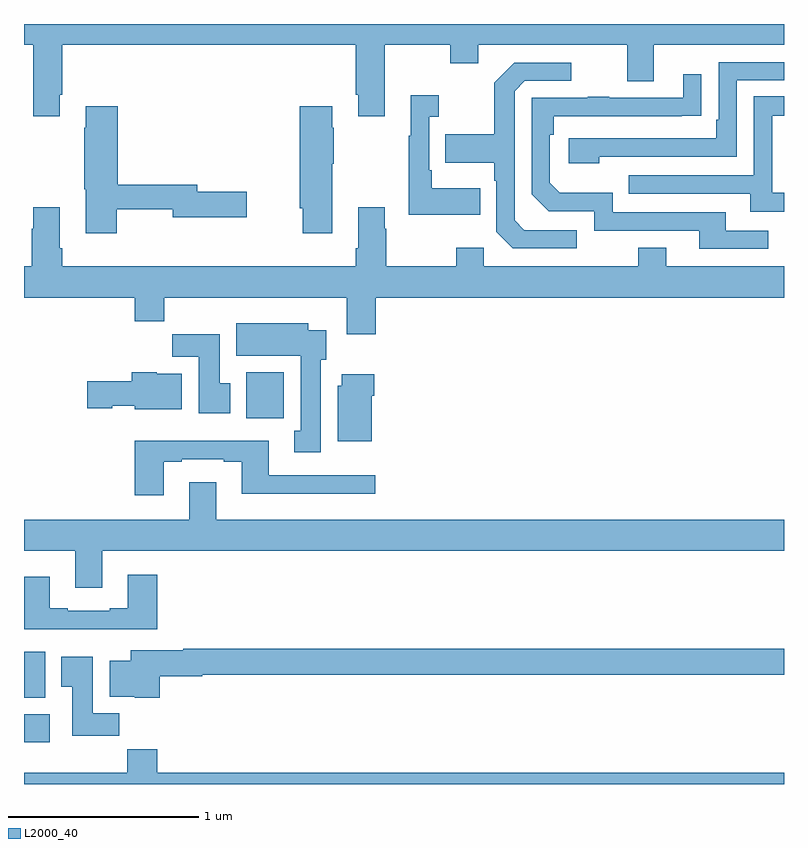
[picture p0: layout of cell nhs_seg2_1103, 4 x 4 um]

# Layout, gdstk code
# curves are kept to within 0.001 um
import gdstk
lib = gdstk.Library(unit=1e-6, precision=1e-09)
def R(c, l, rs):  # rectangles x0, y0, x1, y1
    for r in rs: c.add(gdstk.rectangle(r[:2], r[2:], *l))
def P(c, l, *ps):  # polygons
    for p in ps: c.add(gdstk.Polygon(p, *l))
L2000_40 = (2000, 40)

nhs_seg2_1103 = lib.new_cell('nhs_seg2_1103')
R(nhs_seg2_1103, L2000_40, [(169,588.02,169.135,588.166), (169,588.254,169.111,588.496), (170.171,589.724,170.368,589.966)])
P(nhs_seg2_1103, L2000_40, [(169.189,591.427),(169.202,591.427),(169.202,591.692),(170.747,591.692),(170.747,591.427),(170.759,591.427),(170.759,591.315),(170.899,591.315),(170.899,591.692),(171.244,591.692),(171.244,591.593),(171.391,591.593),(171.391,591.692),(172.175,591.692),(172.175,591.498),(172.315,591.498),(172.315,591.692),(173,591.692),(173,591.8),(169,591.8),(169,591.692),(169.049,591.692),(169.049,591.315),(169.189,591.315)],
  [(172.028,591.102),(172.752,591.102),(172.752,591.504),(173,591.504),(173,591.6),(172.656,591.6),(172.656,591.295),(172.643,591.295),(172.643,591.198),(171.867,591.198),(171.867,591.068),(172.028,591.068)],
  [(171.91,590.715),(171.633,590.715),(171.582,590.766),(171.582,591.447),(171.636,591.501),(171.88,591.501),(171.88,591.597),(171.579,591.597),(171.474,591.491),(171.474,591.219),(171.217,591.219),(171.217,591.071),(171.474,591.071),(171.474,590.975),(171.486,590.975),(171.486,590.706),(171.573,590.619),(171.91,590.619)],
  [(172.918,590.712),(172.693,590.712),(172.693,590.808),(172.098,590.808),(172.098,590.911),(171.821,590.911),(171.768,590.964),(171.768,591.218),(171.788,591.218),(171.788,591.315),(172.565,591.316),(172.565,591.535),(172.469,591.535),(172.469,591.411),(172.079,591.411),(172.079,591.416),(171.967,591.416),(171.967,591.411),(171.672,591.411),(171.672,590.904),(171.762,590.814),(172.002,590.814),(172.002,590.712),(172.553,590.712),(172.553,590.616),(172.918,590.616)],
  [(171.401,590.935),(171.145,590.935),(171.145,591.031),(171.132,591.031),(171.132,591.311),(171.184,591.311),(171.184,591.424),(171.035,591.424),(171.035,591.211),(171.024,591.211),(171.024,590.795),(171.401,590.795)],
  [(173,590.913),(172.938,590.913),(172.938,591.318),(173,591.318),(173,591.419),(172.842,591.419),(172.842,591.003),(172.183,591.003),(172.183,590.907),(172.823,590.907),(172.823,590.813),(173,590.813)],
  [(170.623,591.065),(170.631,591.065),(170.631,591.254),(170.623,591.254),(170.623,591.367),(170.45,591.367),(170.45,590.829),(170.468,590.829),(170.468,590.7),(170.623,590.7)],
  [(169.488,590.826),(169.784,590.826),(169.784,590.783),(170.173,590.783),(170.173,590.918),(169.912,590.918),(169.912,590.954),(169.493,590.954),(169.493,591.367),(169.325,591.367),(169.325,591.254),(169.318,591.254),(169.318,590.931),(169.325,590.931),(169.325,590.7),(169.488,590.7)],
  [(170.852,590.36),(173,590.36),(173,590.524),(172.381,590.524),(172.381,590.623),(172.234,590.623),(172.234,590.524),(171.42,590.524),(171.42,590.623),(171.274,590.623),(171.274,590.524),(170.907,590.524),(170.907,590.723),(170.899,590.723),(170.899,590.836),(170.759,590.836),(170.759,590.62),(170.747,590.62),(170.747,590.524),(169.202,590.524),(169.202,590.62),(169.189,590.62),(169.189,590.836),(169.049,590.836),(169.049,590.723),(169.042,590.723),(169.042,590.524),(169,590.524),(169,590.36),(169.583,590.36),(169.583,590.236),(169.739,590.236),(169.739,590.36),(170.699,590.36),(170.699,590.166),(170.852,590.166)],
  [(170.563,590.034),(170.59,590.034),(170.59,590.188),(170.497,590.188),(170.497,590.224),(170.117,590.224),(170.117,590.054),(170.456,590.054),(170.456,589.658),(170.423,589.658),(170.423,589.545),(170.563,589.545)],
  [(170.086,589.908),(170.029,589.908),(170.029,590.166),(169.78,590.166),(169.78,590.048),(169.919,590.048),(169.919,589.752),(170.086,589.752)],
  [(169.831,589.96),(169.698,589.96),(169.698,589.966),(169.568,589.966),(169.568,589.92),(169.332,589.92),(169.332,589.778),(169.464,589.778),(169.464,589.79),(169.584,589.79),(169.584,589.772),(169.831,589.772)],
  [(170.83,589.844),(170.843,589.844),(170.843,589.957),(170.672,589.957),(170.672,589.896),(170.651,589.896),(170.651,589.604),(170.83,589.604)],
  [(169.735,589.497),(169.831,589.497),(169.831,589.509),(170.051,589.509),(170.051,589.497),(170.147,589.497),(170.147,589.328),(170.848,589.328),(170.848,589.425),(170.287,589.425),(170.287,589.606),(169.583,589.606),(169.583,589.32),(169.735,589.32)],
  [(169.411,589.028),(173,589.028),(173,589.192),(170.011,589.192),(170.011,589.387),(169.871,589.387),(169.871,589.192),(169,589.192),(169,589.028),(169.271,589.028),(169.271,588.834),(169.411,588.834)],
  [(169.7,588.901),(169.547,588.901),(169.547,588.724),(169.451,588.724),(169.451,588.711),(169.231,588.711),(169.231,588.724),(169.135,588.724),(169.135,588.892),(169,588.892),(169,588.614),(169.7,588.614)],
  [(169.715,588.368),(169.938,588.368),(169.938,588.376),(173,588.376),(173,588.512),(169.838,588.512),(169.838,588.505),(169.562,588.505),(169.562,588.448),(169.451,588.448),(169.451,588.26),(169.584,588.26),(169.584,588.254),(169.715,588.254)],
  [(169.502,588.172),(169.363,588.172),(169.363,588.469),(169.196,588.469),(169.196,588.313),(169.253,588.313),(169.253,588.054),(169.502,588.054)],
  [(173,587.86),(169.7,587.86),(169.7,587.984),(169.543,587.984),(169.543,587.86),(169,587.86),(169,587.8),(173,587.8)])

lib.write_gds('nhs_seg2_1103.gds')
